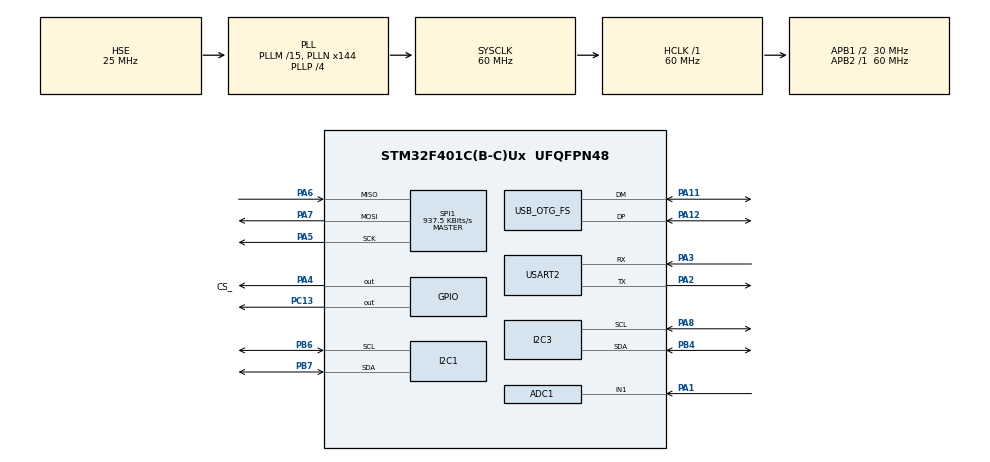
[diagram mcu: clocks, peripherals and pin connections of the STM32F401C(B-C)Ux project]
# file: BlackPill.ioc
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ADC1.Channel-0\#ChannelRegularConversion=ADC_CHANNEL_1
ADC1.NbrOfConversionFlag=1
ADC1.Rank-0\#ChannelRegularConversion=1
ADC1.SamplingTime-0\#ChannelRegularConversion=ADC_SAMPLETIME_3CYCLES
ADC1.master=1
I2C1.I2C_Mode=I2C_Fast
Mcu.Family=STM32F4
Mcu.Name=STM32F401C(B-C)Ux
Mcu.Package=UFQFPN48
NVIC.OTG_FS_IRQn=true\:0\:0\:false\:false\:true\:false\:true\:true
NVIC.PriorityGroup=NVIC_PRIORITYGROUP_4
PA1.Signal=ADCx_IN1
PA11.Mode=Device_Only
PA11.Signal=USB_OTG_FS_DM
PA12.Mode=Device_Only
PA12.Signal=USB_OTG_FS_DP
PA2.Mode=Asynchronous
PA2.Signal=USART2_TX
PA3.Mode=Asynchronous
PA3.Signal=USART2_RX
PA4.GPIO_Label=CS_
PA4.PinState=GPIO_PIN_SET
PA4.Signal=GPIO_Output
PA5.Mode=Full_Duplex_Master
PA5.Signal=SPI1_SCK
PA6.Mode=Full_Duplex_Master
PA6.Signal=SPI1_MISO
PA7.Mode=Full_Duplex_Master
PA7.Signal=SPI1_MOSI
PA8.Mode=I2C
PA8.Signal=I2C3_SCL
PB4.Mode=I2C
PB4.Signal=I2C3_SDA
PB6.GPIO_Pu=GPIO_PULLUP
PB6.Mode=I2C
PB6.Signal=I2C1_SCL
PB7.GPIO_Pu=GPIO_PULLUP
PB7.Mode=I2C
PB7.Signal=I2C1_SDA
PC13-ANTI_TAMP.GPIO_ModeDefaultOutputPP=GPIO_MODE_OUTPUT_PP
PC13-ANTI_TAMP.GPIO_PuPd=GPIO_NOPULL
PC13-ANTI_TAMP.PinState=GPIO_PIN_RESET
PC13-ANTI_TAMP.Signal=GPIO_Output
PH0\ -\ OSC_IN.Mode=HSE-External-Oscillator
PH0\ -\ OSC_IN.Signal=RCC_OSC_IN
PH1\ -\ OSC_OUT.Mode=HSE-External-Oscillator
PH1\ -\ OSC_OUT.Signal=RCC_OSC_OUT
ProjectManager.HeapSize=0x200
ProjectManager.StackSize=0x400
ProjectManager.TargetToolchain=STM32CubeIDE
RCC.48MHZClocksFreq_Value=48000000
RCC.AHBFreq_Value=60000000
RCC.APB1CLKDivider=RCC_HCLK_DIV2
RCC.APB1Freq_Value=30000000
RCC.APB1TimFreq_Value=60000000
RCC.APB2Freq_Value=60000000
RCC.APB2TimFreq_Value=60000000
RCC.CortexFreq_Value=60000000
RCC.HCLKFreq_Value=60000000
RCC.HSE_VALUE=25000000
RCC.HSI_VALUE=16000000
RCC.LSE_VALUE=32768
RCC.PLLM=15
RCC.PLLN=144
RCC.PLLP=RCC_PLLP_DIV4
RCC.PLLQ=5
RCC.SYSCLKFreq_VALUE=60000000
RCC.SYSCLKSource=RCC_SYSCLKSOURCE_PLLCLK
RCC.VCOOutputFreq_Value=240000000
SH.ADCx_IN1.0=ADC1_IN1,IN1
SPI1.BaudRatePrescaler=SPI_BAUDRATEPRESCALER_64
SPI1.CalculateBaudRate=937.5 KBits/s
SPI1.Direction=SPI_DIRECTION_2LINES
SPI1.Mode=SPI_MODE_MASTER
SPI1.VirtualType=VM_MASTER
USART2.VirtualMode=VM_ASYNC
USB_DEVICE.CLASS_NAME_FS=CDC
USB_DEVICE.VirtualMode=Cdc
USB_DEVICE.VirtualModeFS=Cdc_FS
USB_OTG_FS.VirtualMode=Device_Only
VP_USB_DEVICE_VS_USB_DEVICE_CDC_FS.Mode=CDC_FS
board=custom

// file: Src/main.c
/* USER CODE BEGIN Header */
/**
  ******************************************************************************
  * @file           : main.c
  * @brief          : Main program body
  ******************************************************************************
  * @attention
  *
  * Copyright (c) 2025 STMicroelectronics.
  * All rights reserved.
  *
  * This software is licensed under terms that can be found in the LICENSE file
  * in the root directory of this software component.
  * If no LICENSE file comes with this software, it is provided AS-IS.
  *
  ******************************************************************************
  */
/* USER CODE END Header */
#include "main.h"
#include "usb_device.h"

/* USER CODE BEGIN Includes */
#include <stdio.h>
#include <stdbool.h>
#include "usbd_cdc_if.h"
#include "ads1115.h"
#include "ssd1306.h"
#include "mcp2515.h"
extern uint8_t usb_com_open;
extern uint8_t usb_trans_ok;
/* USER CODE END Includes */

ADC_HandleTypeDef hadc1;

I2C_HandleTypeDef hi2c1;
I2C_HandleTypeDef hi2c3;

SPI_HandleTypeDef hspi1;

UART_HandleTypeDef huart2;

void SystemClock_Config(void);
static void MX_GPIO_Init(void);
static void MX_ADC1_Init(void);
static void MX_USART2_UART_Init(void);
static void MX_I2C1_Init(void);
static void MX_SPI1_Init(void);
static void MX_I2C3_Init(void);

/* USER CODE BEGIN 0 */

// Заводское калибровочное значение VREFINT (для STM32F401)
//#define VREFINT_CAL_ADDR 0x1FFF7A2A

float Read_VDD() {
    uint16_t vrefint_cal = *((uint16_t*)VREFINT_CAL_ADDR);
    ADC_ChannelConfTypeDef sConfig = {0};
    sConfig.Channel = ADC_CHANNEL_VREFINT;  // Канал VREFINT
    sConfig.Rank = 1;
    sConfig.SamplingTime = ADC_SAMPLETIME_480CYCLES;  // Достаточное время выборки
    HAL_ADC_ConfigChannel(&hadc1, &sConfig);

    HAL_ADC_Start(&hadc1);
    if (HAL_ADC_PollForConversion(&hadc1, 100) == HAL_OK) {
        uint32_t vrefint_raw = HAL_ADC_GetValue(&hadc1);
        return (3.3f * vrefint_cal) / vrefint_raw;  // Расчёт VDD
    }
    return 0.0f;  // Ошибка
}

void Test_while_MCP2515(){
  printf("цикл тестирования MCP2515\n");
  int i = 0;
  while(1){
    if(i == 0)
         { MCP2515_Write_Register(MCP2515_REG_CANCTRL, 0x80); i = 1;} // Режим конфигурации
     else
         { MCP2515_Write_Register(MCP2515_REG_CANCTRL, 0x00); i = 0;}
     HAL_Delay(1000);
     printf("CANCTRL %d\n",MCP2515_Read_Register(MCP2515_REG_CANCTRL));
  }
}
/* USER CODE END 0 */

int main(void)
{
  /* USER CODE BEGIN 1 */
  SCB->VTOR = FLASH_BASE | 0x4000; // Added to the beginning of the project or after clock initialization
  /* USER CODE END 1 */

  /* MCU Configuration--------------------------------------------------------*/

  /* Reset of all peripherals, Initializes the Flash interface and the Systick. */
  HAL_Init();

  /* Configure the system clock */
  SystemClock_Config();

  /* USER CODE BEGIN SysInit */
  setvbuf(stdin, NULL, _IONBF, 0);
  setvbuf(stdout, NULL, _IONBF, 0);
  setvbuf(stderr, NULL, _IONBF, 0);
  /* USER CODE END SysInit */

  /* Initialize all configured peripherals */
  MX_GPIO_Init();
  MX_ADC1_Init();
  MX_USART2_UART_Init();
  MX_USB_DEVICE_Init();
  MX_I2C1_Init();
  MX_SPI1_Init();
  MX_I2C3_Init();
  /* USER CODE BEGIN 2 */
  //ADS1115_Init();  // �?нициализация ADS1115
  OLED_Init(&oled, &hi2c1);
  OLED_FlipHorizontal(&oled,1);
  OLED_FlipVertical(&oled, 1);
  OLED_InvertColors(&oled, true);
      // Вывод текста на 4 строки
    OLED_WriteString(0,&oled,0,0, "Hello");
    OLED_WriteString(0,&oled,1,0, "World");
    OLED_WriteString(0,&oled,2,0, "Line 3");
    OLED_WriteString(1,&oled,3,0, "Line 4");
    OLED_Clear(&oled);

  //Test_while_MCP2515();
  MCP2515_Init_ISO15765();
  //MCP2515_Init_With_Filter();
  //HAL_Delay(7000);
  /* USER CODE END 2 */

  /* Infinite loop */
  /* USER CODE BEGIN WHILE */
  while (1)
  {
    HAL_GPIO_WritePin(GPIOC, GPIO_PIN_13, GPIO_PIN_RESET);
    //HAL_Delay(250);
    //HAL_GPIO_WritePin(GPIOC, GPIO_PIN_13, GPIO_PIN_SET);
    //HAL_Delay(250);
    // Отправляем запрос RPM
    uint8_t rx_data[8] = {0};

    MCP2515_Send_OBD_Request(CAN_OBD_REQUEST_ID, PID_ENGINE_RPM);
    uint8_t data_length = MCP2515_Read_Message_Polling(rx_data, PID_ENGINE_RPM, 50);
    if (data_length > 0) {
      if(Handle_Negative_Response(rx_data, 8)){
          OLED_WriteString(0,&oled,1,0, "rpm: er    ");
      }else{
          //printf("RPM %x %x %x %x %x %x %x %x\n",rx_data[0],rx_data[1],rx_data[2],rx_data[3],rx_data[4],rx_data[5],rx_data[6],rx_data[7]);
          float engine_rpm = Parse_Engine_RPM(rx_data, 8);
          OLED_WriteString(0,&oled,1,0, "rpm: %6.1f",engine_rpm);// 2567.1
      }
    }else{ print("RPM message not coming \n"); }

    //Отправляем запрос COOLANT
    MCP2515_Send_OBD_Request(CAN_OBD_REQUEST_ID, PID_COOLANT_TEMP);
    if(MCP2515_Read_Message_Polling(rx_data, PID_COOLANT_TEMP, 50) > 0){
      if(Handle_Negative_Response(rx_data, 8)){
          OLED_WriteString(0,&oled,2,0, "t: er   ");
      }else{
        //printf("TEMP %x %x %x %x %x %x %x %x\n",rx_data[0],rx_data[1],rx_data[2],rx_data[3],rx_data[4],rx_data[5],rx_data[6],rx_data[7]);
        float t = Parse_Coolant_Temperature(rx_data,8);
        OLED_WriteString(0,&oled,2,0, "t: %5.1f",t);  // 103.4
      }
    }else{ print("TEMP message not coming \n");}

    //Отправляем запрос Check Engine
    MCP2515_Send_OBD_Request(CAN_OBD_REQUEST_ID, PID_DTC_STATUS);
    if(MCP2515_Read_Message_Polling(rx_data, PID_DTC_STATUS, 50) > 0){
      if(Handle_Negative_Response(rx_data, 8)){
          OLED_WriteString(0,&oled,3,0, "check: er");
      }else{
        //printf("DTC %x %x %x %x %x %x %x %x\n",rx_data[0],rx_data[1],rx_data[2],rx_data[3],rx_data[4],rx_data[5],rx_data[6],rx_data[7]);
        DTC_Status dt = Parse_DTC_Status(rx_data,8);
        OLED_WriteString(0,&oled,3,0, "check: %2d",dt.mil_status);
      }
    }else{ print("DTC message not coming \n");}

    //memset(rx_data,0,8);
    OLED_WriteString(1,&oled,0,0, "data_length: %3d",data_length);
    /* USER CODE END WHILE */

  }
}

void SystemClock_Config(void)
{
  RCC_OscInitTypeDef RCC_OscInitStruct = {0};
  RCC_ClkInitTypeDef RCC_ClkInitStruct = {0};

  /** Configure the main internal regulator output voltage
  */
  __HAL_RCC_PWR_CLK_ENABLE();
  __HAL_PWR_VOLTAGESCALING_CONFIG(PWR_REGULATOR_VOLTAGE_SCALE2);

  /** Initializes the RCC Oscillators according to the specified parameters
  * in the RCC_OscInitTypeDef structure.
  */
  RCC_OscInitStruct.OscillatorType = RCC_OSCILLATORTYPE_HSE;
  RCC_OscInitStruct.HSEState = RCC_HSE_ON;
  RCC_OscInitStruct.PLL.PLLState = RCC_PLL_ON;
  RCC_OscInitStruct.PLL.PLLSource = RCC_PLLSOURCE_HSE;
  RCC_OscInitStruct.PLL.PLLM = 15;
  RCC_OscInitStruct.PLL.PLLN = 144;
  RCC_OscInitStruct.PLL.PLLP = RCC_PLLP_DIV4;
  RCC_OscInitStruct.PLL.PLLQ = 5;
  if (HAL_RCC_OscConfig(&RCC_OscInitStruct) != HAL_OK)
  {
    Error_Handler();
  }

  /** Initializes the CPU, AHB and APB buses clocks
  */
  RCC_ClkInitStruct.ClockType = RCC_CLOCKTYPE_HCLK|RCC_CLOCKTYPE_SYSCLK
                              |RCC_CLOCKTYPE_PCLK1|RCC_CLOCKTYPE_PCLK2;
  RCC_ClkInitStruct.SYSCLKSource = RCC_SYSCLKSOURCE_PLLCLK;
  RCC_ClkInitStruct.AHBCLKDivider = RCC_SYSCLK_DIV1;
  RCC_ClkInitStruct.APB1CLKDivider = RCC_HCLK_DIV2;
  RCC_ClkInitStruct.APB2CLKDivider = RCC_HCLK_DIV1;

  if (HAL_RCC_ClockConfig(&RCC_ClkInitStruct, FLASH_LATENCY_1) != HAL_OK)
  {
    Error_Handler();
  }
}

static void MX_ADC1_Init(void)
{

  ADC_ChannelConfTypeDef sConfig = {0};

  /** Configure the global features of the ADC (Clock, Resolution, Data Alignment and number of conversion)
  */
  hadc1.Instance = ADC1;
  hadc1.Init.ClockPrescaler = ADC_CLOCK_SYNC_PCLK_DIV2;
  hadc1.Init.Resolution = ADC_RESOLUTION_12B;
  hadc1.Init.ScanConvMode = DISABLE;
  hadc1.Init.ContinuousConvMode = DISABLE;
  hadc1.Init.DiscontinuousConvMode = DISABLE;
  hadc1.Init.ExternalTrigConvEdge = ADC_EXTERNALTRIGCONVEDGE_NONE;
  hadc1.Init.ExternalTrigConv = ADC_SOFTWARE_START;
  hadc1.Init.DataAlign = ADC_DATAALIGN_RIGHT;
  hadc1.Init.NbrOfConversion = 1;
  hadc1.Init.DMAContinuousRequests = DISABLE;
  hadc1.Init.EOCSelection = ADC_EOC_SINGLE_CONV;
  if (HAL_ADC_Init(&hadc1) != HAL_OK)
  {
    Error_Handler();
  }

  /** Configure for the selected ADC regular channel its corresponding rank in the sequencer and its sample time.
  */
  sConfig.Channel = ADC_CHANNEL_1;
  sConfig.Rank = 1;
  sConfig.SamplingTime = ADC_SAMPLETIME_3CYCLES;
  if (HAL_ADC_ConfigChannel(&hadc1, &sConfig) != HAL_OK)
  {
    Error_Handler();
  }

}

static void MX_I2C1_Init(void)
{

  hi2c1.Instance = I2C1;
  hi2c1.Init.ClockSpeed = 800000;
  hi2c1.Init.DutyCycle = I2C_DUTYCYCLE_2;
  hi2c1.Init.OwnAddress1 = 0;
  hi2c1.Init.AddressingMode = I2C_ADDRESSINGMODE_7BIT;
  hi2c1.Init.DualAddressMode = I2C_DUALADDRESS_DISABLE;
  hi2c1.Init.OwnAddress2 = 0;
  hi2c1.Init.GeneralCallMode = I2C_GENERALCALL_DISABLE;
  hi2c1.Init.NoStretchMode = I2C_NOSTRETCH_DISABLE;
  if (HAL_I2C_Init(&hi2c1) != HAL_OK)
  {
    Error_Handler();
  }

}

static void MX_I2C3_Init(void)
{

  hi2c3.Instance = I2C3;
  hi2c3.Init.ClockSpeed = 100000;
  hi2c3.Init.DutyCycle = I2C_DUTYCYCLE_2;
  hi2c3.Init.OwnAddress1 = 0;
  hi2c3.Init.AddressingMode = I2C_ADDRESSINGMODE_7BIT;
  hi2c3.Init.DualAddressMode = I2C_DUALADDRESS_DISABLE;
  hi2c3.Init.OwnAddress2 = 0;
  hi2c3.Init.GeneralCallMode = I2C_GENERALCALL_DISABLE;
  hi2c3.Init.NoStretchMode = I2C_NOSTRETCH_DISABLE;
  if (HAL_I2C_Init(&hi2c3) != HAL_OK)
  {
    Error_Handler();
  }

}

static void MX_SPI1_Init(void)
{

  /* SPI1 parameter configuration*/
  hspi1.Instance = SPI1;
  hspi1.Init.Mode = SPI_MODE_MASTER;
  hspi1.Init.Direction = SPI_DIRECTION_2LINES;
  hspi1.Init.DataSize = SPI_DATASIZE_8BIT;
  hspi1.Init.CLKPolarity = SPI_POLARITY_LOW;
  hspi1.Init.CLKPhase = SPI_PHASE_1EDGE;
  hspi1.Init.NSS = SPI_NSS_SOFT;
  hspi1.Init.BaudRatePrescaler = SPI_BAUDRATEPRESCALER_64;
  hspi1.Init.FirstBit = SPI_FIRSTBIT_MSB;
  hspi1.Init.TIMode = SPI_TIMODE_DISABLE;
  hspi1.Init.CRCCalculation = SPI_CRCCALCULATION_DISABLE;
  hspi1.Init.CRCPolynomial = 10;
  if (HAL_SPI_Init(&hspi1) != HAL_OK)
  {
    Error_Handler();
  }

}

static void MX_USART2_UART_Init(void)
{

  huart2.Instance = USART2;
  huart2.Init.BaudRate = 115200;
  huart2.Init.WordLength = UART_WORDLENGTH_8B;
  huart2.Init.StopBits = UART_STOPBITS_1;
  huart2.Init.Parity = UART_PARITY_NONE;
  huart2.Init.Mode = UART_MODE_TX_RX;
  huart2.Init.HwFlowCtl = UART_HWCONTROL_NONE;
  huart2.Init.OverSampling = UART_OVERSAMPLING_16;
  if (HAL_UART_Init(&huart2) != HAL_OK)
  {
    Error_Handler();
  }

}

static void MX_GPIO_Init(void)
{
  GPIO_InitTypeDef GPIO_InitStruct = {0};

  /* GPIO Ports Clock Enable */
  __HAL_RCC_GPIOC_CLK_ENABLE();
  __HAL_RCC_GPIOH_CLK_ENABLE();
  __HAL_RCC_GPIOA_CLK_ENABLE();
  __HAL_RCC_GPIOB_CLK_ENABLE();

  /*Configure GPIO pin Output Level */
  HAL_GPIO_WritePin(GPIOC, GPIO_PIN_13, GPIO_PIN_RESET);

  /*Configure GPIO pin Output Level */
  HAL_GPIO_WritePin(CS__GPIO_Port, CS__Pin, GPIO_PIN_SET);

  /*Configure GPIO pin : PC13 */
  GPIO_InitStruct.Pin = GPIO_PIN_13;
  GPIO_InitStruct.Mode = GPIO_MODE_OUTPUT_PP;
  GPIO_InitStruct.Pull = GPIO_NOPULL;
  GPIO_InitStruct.Speed = GPIO_SPEED_FREQ_LOW;
  HAL_GPIO_Init(GPIOC, &GPIO_InitStruct);

  /*Configure GPIO pin : CS__Pin */
  GPIO_InitStruct.Pin = CS__Pin;
  GPIO_InitStruct.Mode = GPIO_MODE_OUTPUT_PP;
  GPIO_InitStruct.Pull = GPIO_NOPULL;
  GPIO_InitStruct.Speed = GPIO_SPEED_FREQ_LOW;
  HAL_GPIO_Init(CS__GPIO_Port, &GPIO_InitStruct);

}

/* USER CODE BEGIN 4 */
int __io_putchar(int ch)
{
  HAL_UART_Transmit(&huart2, (uint8_t *)&ch, 1, 10);
  return ch;
}

int _write(int file, char *ptr, int len)
{
    (void)file;
  //DBG_PIN_SET;
  CDC_Transmit_FS((uint8_t *)ptr, len);
  //DBG_PIN_RS;
  return len;
}

void print(const char *format, ...) {
  char buffer[128]; // Подберите размер под ваши нужды
  va_list args;

  va_start(args, format);
  int len = vsnprintf(buffer, sizeof(buffer), format, args);
  va_end(args);

  if (len > 0) {
    CDC_Transmit_FS((uint8_t *)buffer, len);
  }
}
/* USER CODE END 4 */

void Error_Handler(void)
{
  __disable_irq();
  while (1)
  {
  }
}
